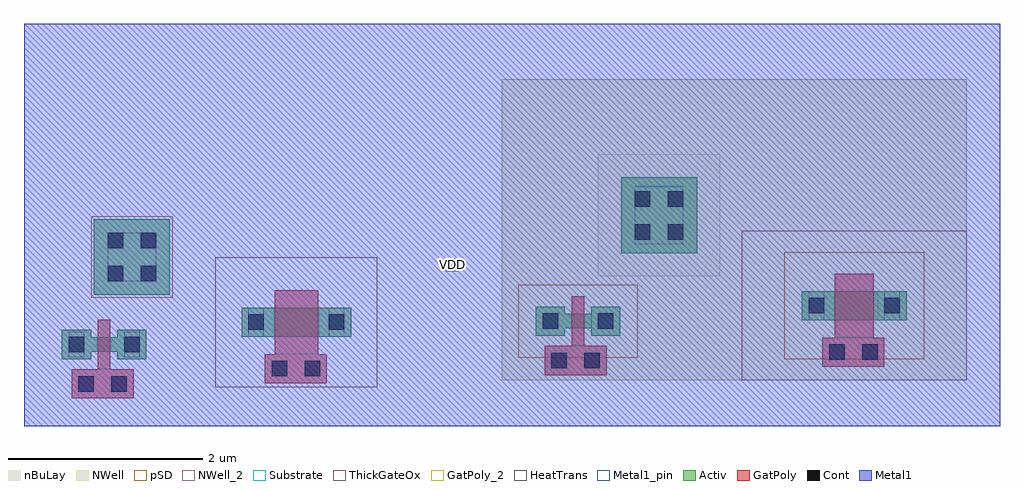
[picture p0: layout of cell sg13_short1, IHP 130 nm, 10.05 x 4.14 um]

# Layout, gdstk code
import gdstk
lib = gdstk.Library(unit=1e-6, precision=1e-09)
def R(c, l, rs):  # rectangles x0, y0, x1, y1
    for r in rs: c.add(gdstk.rectangle(r[:2], r[2:], *l))
Activ = (1, 0)
GatPoly = (5, 0)
GatPoly_2 = (5, 2)
Cont = (6, 0)
Metal1 = (8, 0)
Metal1_pin = (8, 2)
pSD = (14, 0)
NWell = (31, 0)
NWell_2 = (31, 2)
nBuLay = (32, 0)
Substrate = (40, 0)
ThickGateOx = (44, 0)
HeatTrans = (51, 0)

nmoshv = lib.new_cell('nmosHV')
R(nmoshv, Activ, [(0,0,0.3,0.3), (0,0,1.13,0.3), (0.83,0,1.13,0.3)])
R(nmoshv, GatPoly, [(0.34,-0.18,0.79,0.48)])
R(nmoshv, GatPoly_2, [(0.34,-0.18,0.79,0.48)])
R(nmoshv, Cont, [(0.07,0.07,0.23,0.23), (0.9,0.07,1.06,0.23)])
R(nmoshv, Metal1, [(0.07,0,0.23,0.3), (0.9,0,1.06,0.3)])
R(nmoshv, Metal1_pin, [(0.07,0,0.23,0.3), (0.9,0,1.06,0.3)])
R(nmoshv, ThickGateOx, [(-0.27,-0.52,1.4,0.82)])
R(nmoshv, HeatTrans, [(0.34,-0.18,0.79,0.48)])
nmoshv.add(gdstk.Label('nmosHV', (0.565,0.15), layer=63, texttype=0))
nmoshv.add(gdstk.Label('nmosHV', (0.565,0.15), layer=51, texttype=0))

pmoshv = lib.new_cell('pmosHV')
R(pmoshv, Activ, [(0,0,0.3,0.3), (0,0,1.08,0.3), (0.78,0,1.08,0.3)])
R(pmoshv, GatPoly, [(0.34,-0.18,0.74,0.48)])
R(pmoshv, GatPoly_2, [(0.34,-0.18,0.74,0.48)])
R(pmoshv, Cont, [(0.07,0.07,0.23,0.23), (0.85,0.07,1.01,0.23)])
R(pmoshv, Metal1, [(0.07,0,0.23,0.3), (0.85,0,1.01,0.3)])
R(pmoshv, Metal1_pin, [(0.07,0,0.23,0.3), (0.85,0,1.01,0.3)])
R(pmoshv, pSD, [(-0.18,-0.4,1.26,0.7)])
R(pmoshv, NWell, [(-0.62,-0.62,1.7,0.92)])
R(pmoshv, Substrate, [(0.78,0,1.08,0.3)])
R(pmoshv, ThickGateOx, [(-0.62,-0.62,1.7,0.92)])
R(pmoshv, HeatTrans, [(0.34,-0.18,0.74,0.48)])
pmoshv.add(gdstk.Label('pmosHV', (0.54,0.15), layer=63, texttype=0))
pmoshv.add(gdstk.Label('pmos', (0.54,0.15), layer=51, texttype=0))

pmos = lib.new_cell('pmos')
R(pmos, Activ, [(0,0,0.3,0.3), (0.57,0,0.87,0.3), (0,0.075,0.87,0.225)])
R(pmos, GatPoly, [(0.37,-0.105,0.5,0.405), (0.37,-0.105,0.5,0.405)])
R(pmos, Cont, [(0.07,0.07,0.23,0.23), (0.64,0.07,0.8,0.23)])
R(pmos, Metal1, [(0.07,0.02,0.23,0.28), (0.07,0.02,0.23,0.28), (0.64,0.02,0.8,0.28), (0.64,0.02,0.8,0.28)])
R(pmos, pSD, [(-0.18,-0.225,1.05,0.525)])
R(pmos, NWell, [(-0.31,-0.31,1.18,0.61)])
R(pmos, Substrate, [(0.57,0,0.87,0.3)])
R(pmos, HeatTrans, [(0.37,-0.105,0.5,0.405)])
pmos.add(gdstk.Label('pmos', (0.435,0.15), layer=63, texttype=0))
pmos.add(gdstk.Label('pmos', (0.435,0.15), layer=51, texttype=0))

ptap1 = lib.new_cell('ptap1')
R(ptap1, Activ, [(0,0,0.78,0.78)])
R(ptap1, Cont, [(0.14,0.14,0.3,0.3), (0.48,0.14,0.64,0.3), (0.14,0.48,0.3,0.64), (0.48,0.48,0.64,0.64)])
R(ptap1, Metal1, [(0.14,0.09,0.64,0.69), (0.14,0.14,0.64,0.64)])
R(ptap1, Metal1_pin, [(0.14,0.14,0.64,0.64)])
R(ptap1, pSD, [(-0.03,-0.03,0.81,0.81)])
R(ptap1, Substrate, [(0,0,0.78,0.78)])
ptap1.add(gdstk.Label('sub!', (0.39,0.01), layer=63, texttype=0))
ptap1.add(gdstk.Label('sub!', (0.39,0.01), layer=40, texttype=0))

ntap1 = lib.new_cell('ntap1')
R(ntap1, Activ, [(0,0,0.78,0.78)])
R(ntap1, Cont, [(0.14,0.14,0.3,0.3), (0.48,0.14,0.64,0.3), (0.14,0.48,0.3,0.64), (0.48,0.48,0.64,0.64)])
R(ntap1, Metal1, [(0.14,0.09,0.64,0.69)])
R(ntap1, Metal1_pin, [(0.14,0.09,0.64,0.69), (0.14,0.14,0.64,0.64)])
R(ntap1, NWell, [(-0.24,-0.24,1.02,1.02), (0,0,0.78,0.78)])
R(ntap1, NWell_2, [(0,0,0.78,0.78)])
R(ntap1, nBuLay, [(-0.24,-0.24,1.02,1.02)])
ntap1.add(gdstk.Label('well', (0.39,0.01), layer=31, texttype=0))
ntap1.add(gdstk.Label('well', (0.39,0.01), layer=63, texttype=0))

via_stack = lib.new_cell('via_stack')
R(via_stack, GatPoly, [(-0.32,-0.15,0.32,0.15)])
R(via_stack, Cont, [(-0.25,-0.08,-0.09,0.08), (0.09,-0.08,0.25,0.08)])
R(via_stack, Metal1, [(-0.3,-0.08,0.3,0.08)])

nmos = lib.new_cell('nmos')
R(nmos, Activ, [(0,0,0.3,0.3), (0.57,0,0.87,0.3), (0,0.075,0.87,0.225)])
R(nmos, GatPoly, [(0.37,-0.105,0.5,0.405)])
R(nmos, GatPoly_2, [(0.37,-0.105,0.5,0.405)])
R(nmos, Cont, [(0.07,0.07,0.23,0.23), (0.64,0.07,0.8,0.23)])
R(nmos, Metal1, [(0.07,0.02,0.23,0.28), (0.64,0.02,0.8,0.28)])
R(nmos, Metal1_pin, [(0.07,0.02,0.23,0.28), (0.64,0.02,0.8,0.28)])
R(nmos, HeatTrans, [(0.37,-0.105,0.5,0.405)])
nmos.add(gdstk.Label('nmos', (0.435,0.15), layer=63, texttype=0))
nmos.add(gdstk.Label('nmos', (0.435,0.15), layer=51, texttype=0))

sg13_short1 = lib.new_cell('sg13_short1')
R(sg13_short1, Metal1, [(-1.38,-0.69,8.67,3.45)])
R(sg13_short1, Metal1_pin, [(2.965,0.905,3.095,1.035)])
R(sg13_short1, NWell, [(3.54,-0.22,8.33,2.88)])
sg13_short1.add(gdstk.Reference(nmoshv, (0.86,0.23)))
sg13_short1.add(gdstk.Reference(pmoshv, (6.63,0.4)))
sg13_short1.add(gdstk.Reference(pmos, (3.89,0.24)))
sg13_short1.add(gdstk.Reference(ptap1, (-0.66,0.66)))
sg13_short1.add(gdstk.Reference(ntap1, (4.77,1.09)))
sg13_short1.add(gdstk.Reference(via_stack, (1.42,-0.1)))
sg13_short1.add(gdstk.Reference(via_stack, (-0.57,-0.255)))
sg13_short1.add(gdstk.Reference(nmos, (-0.99,0)))
sg13_short1.add(gdstk.Reference(via_stack, (4.3,-0.015)))
sg13_short1.add(gdstk.Reference(via_stack, (7.16,0.07)))
sg13_short1.add(gdstk.Label('VDD', (3.03,0.97), layer=8, texttype=25))

lib.write_gds('sg13_short1.gds')
